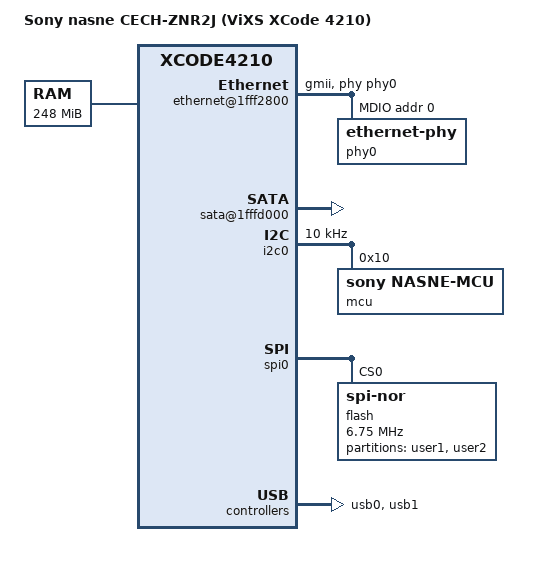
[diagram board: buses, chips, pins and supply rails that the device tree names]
// SPDX-License-Identifier: GPL-2.0
/dts-v1/;

/ {
	#address-cells = <1>;
	#size-cells = <1>;
	compatible = "sony,nasne-cech-znr2j", "vixs,xcode4210";
	model = "Sony nasne CECH-ZNR2J (ViXS XCode 4210)";

	chosen {
		bootargs = "rdinit=/init print-fatal-signals=1 @EXTRA_BOOTARGS@";
	};

	memory@10000000 {
		device_type = "memory";
		reg = <0x10000000 0x0f800000>;
	};

	cpus {
		#address-cells = <1>;
		#size-cells = <0>;

		cpu@0 {
			device_type = "cpu";
			compatible = "mips,mips74Kc";
			reg = <0>;
		};
	};

	ethernet@1fff2800 {
		compatible = "vixs,xcode-gmac";
		reg = <0x1fff2800 0x30>;
		interrupt-parent = <&cpuintc>;
		interrupts = <6>;
		phy-handle = <&phy0>;
		phy-mode = "gmii";

		mdio {
			#address-cells = <1>;
			#size-cells = <0>;

			phy0: ethernet-phy@0 {
				reg = <0>;
			};
		};
	};

	sata@1fffd000 {
		compatible = "vixs,xcode-ahci";
		reg = <0x1fffd000 0x400>;
		interrupt-parent = <&cpuintc>;
		interrupts = <6>;
		vixs,host = <0>;
	};

	i2c0: i2c@1fff1000 {
		compatible = "vixs,xcode-i2c";
		reg = <0x1fff1000 0xa8>;
		vixs,block = <0>;
		clock-frequency = <10000>;
		/* kexec の開発サイクル用の vixs,init-ppc(PPC のクロック設定)は、cold boot では不要で、xcode4drv(メディアエンジンのファーム)の起動を乱す(2026-10-18)ので、付けない */
		#address-cells = <1>;
		#size-cells = <0>;

		mcu@10 {
			compatible = "sony,nasne-mcu";
			reg = <0x10>;
		};
	};

	spi0: spi@1fff10ac {
		compatible = "vixs,xcode-spi";
		reg = <0x1fff10ac 0x10>;
		/* kexec の開発サイクル用の vixs,init-ppc(PPC のクロック設定)は、cold boot では不要で、xcode4drv(メディアエンジンのファーム)の起動を乱す(2026-10-18)ので、付けない */
		#address-cells = <1>;
		#size-cells = <0>;

		flash@0 {
			compatible = "jedec,spi-nor";	/* Spansion S25FL128P(16MB)。ベンダーのカーネルの platform.c と同じ区画 */
			reg = <0>;
			spi-max-frequency = <6750000>;
			#address-cells = <1>;
			#size-cells = <1>;

			partitions {
				compatible = "fixed-partitions";
				#address-cells = <1>;
				#size-cells = <1>;

				partition@0 {
					label = "user1";	/* ブートチェーン・KNL/BKNL・RFS/BRFS など */
					reg = <0x000000 0xd00000>;
				};
				partition@d00000 {
					label = "user2";	/* NV(JFFS2) など */
					reg = <0xd00000 0x2f0000>;
				};
			};
		};
	};

	usb0: usb@1fff2000 {
		compatible = "vixs,xcode-ehci";	/* USB ホスト(SDUH)。EHCI のレジスタは間接アクセス(arch/mips/xcode/usb.c) */
		reg = <0x1fff2000 0x40>;
		interrupt-parent = <&cpuintc>;
		interrupts = <6>;
	};

	usb1: usb@1fff2040 {
		compatible = "vixs,xcode-ohci";	/* 同じ SDUH の OHCI(EHCI のコンパニオン。low/full-speed の機器)。レジスタは OOC 経由の間接アクセス */
		reg = <0x1fff2040 0x40>;
		interrupt-parent = <&cpuintc>;
		interrupts = <6>;
	};

	cpuintc: interrupt-controller {
		#address-cells = <0>;
		#interrupt-cells = <1>;
		interrupt-controller;
		compatible = "mti,cpu-interrupt-controller";
	};
};
